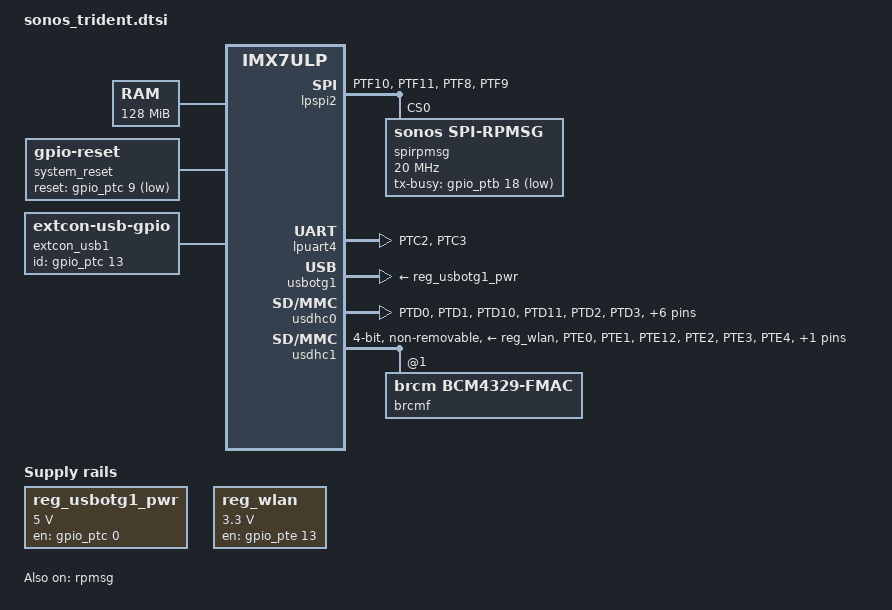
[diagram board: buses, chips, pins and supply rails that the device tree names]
/*
 * Copyright (c) 2019-2020, Sonos, Inc.
 *
 * SPDX-License-Identifier:     GPL-2.0
 */
#include "sonos_imx7ulp.dtsi"
#include <dt-bindings/input/input.h>

/ {
	compatible = "fsl,imx7ulp-evk", "fsl,imx7ulp", "Generic DT based system";

	sonos-platform {
		/* Sonos platform specific values for shared driver source & binaries */
		thermal-mgmt {
			/*
			 * Dummy fault and warn values are configured for now.
			 * Temperature from RPMsg is reported as AMP to mesh
			 * with Sonos Sensor Driver.
			 */
			CPU {
				compatible = "imx7ulp_cpu";
				fault-temperature = <150>;
				warn-temperature = <100>;
			};
			AMP {
				compatible = "rpmsg_temp";
				fault-temperature = <150>;
				warn-temperature = <100>;
			};
		};
	};

	aliases {
		i2c0 = &lpi2c5;
		i2c1 = &rpmsg_i2c0;
		i2c2 = &rpmsg_i2c1;
		gpio4 = &rpmsg_gpio0;
		gpio5 = &rpmsg_gpio1;
		gpio6 = &gpio_ptb;
	};

	chosen {
		stdout-path = &lpuart4;
	};

	memory {
		device_type = "memory";
		reg = <0x60000000 0x08000000>;
	};

	system_reset: system-reset {
		compatible = "gpio-reset";
		reset-gpios = <&gpio_ptc 9 GPIO_ACTIVE_LOW>;
		reset-delay-us = <1000>;
		#reset-cells = <0>;
	};

	regulators {
		compatible = "simple-bus";
		#address-cells = <1>;
		#size-cells = <0>;

		reg_usbotg1_pwr: regulator@0 {
			compatible = "regulator-fixed";
			reg = <0>;
			pinctrl-names = "default", "sleep";
			pinctrl-0 = <&pinctrl_usbotg1_pwr>;
			pinctrl-1 = <&pinctrl_usbotg1_pwr>;
			regulator-name = "usb_otg1_vbus";
			regulator-min-microvolt = <5000000>;
			regulator-max-microvolt = <5000000>;
			gpio = <&gpio_ptc 0 GPIO_ACTIVE_HIGH>;
			enable-active-high;
		};

		reg_wlan: regulator@1 {
			compatible = "regulator-fixed";
			reg = <1>;
			regulator-name = "wlan";
			regulator-min-microvolt = <3300000>;
			regulator-max-microvolt = <3300000>;
			gpio = <&gpio_pte 13 GPIO_ACTIVE_HIGH>;
			enable-active-high;
		};
	};

	extcon_usb1: extcon_usb1 {
		compatible = "linux,extcon-usb-gpio";
		id-gpio = <&gpio_ptc 13 GPIO_ACTIVE_HIGH>;
		pinctrl-names = "default", "sleep";
		pinctrl-0 = <&pinctrl_usbotg1_id>;
		pinctrl-1 = <&pinctrl_usbotg1_id>;
	};

	pf1550-rpmsg {
		compatible = "fsl,pf1550-rpmsg";
		sw1_reg: SW1 {
				regulator-name = "SW1";
				regulator-min-microvolt = <600000>;
				regulator-max-microvolt = <1387500>;
				regulator-boot-on;
				regulator-always-on;
		};

		sw2_reg: SW2 {
				regulator-name = "SW2";
				regulator-min-microvolt = <600000>;
				regulator-max-microvolt = <1387500>;
				regulator-boot-on;
				regulator-always-on;
		};

		sw3_reg: SW3 {
				regulator-name = "SW3";
				regulator-min-microvolt = <1800000>;
				regulator-max-microvolt = <3300000>;
				regulator-boot-on;
				regulator-always-on;
		};

		vref_reg: VREFDDR {
				regulator-name = "VREFDDR";
				regulator-min-microvolt = <1200000>;
				regulator-max-microvolt = <1200000>;
				regulator-boot-on;
				regulator-always-on;
		};

		vldo1_reg: LDO1 {
				regulator-name = "LDO1";
				regulator-min-microvolt = <750000>;
				regulator-max-microvolt = <3300000>;
				regulator-always-on;
		};

		vldo2_reg: LDO2 {
				regulator-name = "LDO2";
				regulator-min-microvolt = <1800000>;
				regulator-max-microvolt = <3300000>;
				regulator-always-on;
		};

		vldo3_reg: LDO3 {
				regulator-name = "LDO3";
				regulator-min-microvolt = <750000>;
				regulator-max-microvolt = <3300000>;
				regulator-always-on;
		};
	};

	rpmsg_i2c0: rpmsg-i2c0 {
		compatible = "sonos,imx7ulp-rpmsg-i2c";
		status = "okay";
	};

	rpmsg_i2c1: rpmsg-i2c1 {
		compatible = "sonos,imx7ulp-rpmsg-i2c";
		status = "okay";
	};

	rpmsg_i2s: rpmsg-i2s {
		compatible = "fsl,imx7ulp-rpmsg-i2s";
		/* the audio device index in m4 domain */
		fsl,audioindex = <0> ;
		status = "disabled";
	};

	rpmsg_gpio0: rpmsg-gpio0 {
		compatible = "fsl,imx-rpmsg-gpio";
		port_idx = <0>;
		gpio-controller;
		#gpio-cells = <2>;
		#interrupt-cells = <2>;
		interrupt-controller;
		interrupt-parent = <&rpmsg_gpio0>;
		status = "disabled";
	};

	rpmsg_gpio1: rpmsg-gpio1 {
		compatible = "fsl,imx-rpmsg-gpio";
		port_idx = <1>;
		gpio-controller;
		#gpio-cells = <2>;
		#interrupt-cells = <2>;
		interrupt-controller;
		interrupt-parent = <&rpmsg_gpio1>;
		status = "okay";
	};

	/* rpmsg_keys: rpmsg-keys {
		compatible = "fsl,rpmsg-keys";

		volume-up {
			label = "Volume Up";
			linux,code = <KEY_VOLUMEUP>;
		};

		volume-down {
			label = "Volume Down";
			linux,code = <KEY_VOLUMEDOWN>;
		};

		power-on {
			label = "PowerOn";
			linux,code = <KEY_POWER>;
			rpmsg-key,wakeup;
		};
	}; */

	/* rpmsg_sensor: rpmsg-sensor {
		compatible = "fsl,rpmsg-input";
	}; */

	/* sound-rpmsg {
		compatible = "fsl,imx-audio-rpmsg";
		model = "rpmsg-audio";
		cpu-dai = <&rpmsg_i2s>;
	}; */

	sonos-bt {
		compatible = "sonos,bt-rpmsg";
		status = "okay";
	};

	sonos-psy {
		compatible = "sonos,psy";
		status = "okay";
	};

	sonos-sndcrd {
		compatible = "sonos,sndcrdctl";
		status = "okay";
	};
};

&cpu0 {
	arm-supply= <&sw1_reg>;
};

&iomuxc1 {
    pinctrl-names = "default_iomuxc1";
    pinctrl-0 = <&pinctrl_hog1>;


    imx7ulp-custom-board {
        pinctrl_hog1: hog1grp {                            /*!< Function assigned for the core: Cortex-A7[ca7] */
/*
 * TEXT BELOW IS USED AS SETTING FOR TOOLS *************************************
pinctrl_hog1:
- options: {callFromInitBoot: 'false', coreID: ca7}
- pin_list:
  - {pin_num: J19, peripheral: DDR, signal: 'ddr_ca, 0', pin_signal: DDR_CA0}
  - {pin_num: J18, peripheral: DDR, signal: 'ddr_ca, 1', pin_signal: DDR_CA1}
  - {pin_num: J16, peripheral: DDR, signal: 'ddr_ca, 2', pin_signal: DDR_CA2}
  - {pin_num: H17, peripheral: DDR, signal: 'ddr_ca, 3', pin_signal: DDR_CA3}
  - {pin_num: G18, peripheral: DDR, signal: 'ddr_ca, 4', pin_signal: DDR_CA4}
  - {pin_num: L17, peripheral: DDR, signal: 'ddr_ca, 5', pin_signal: DDR_CA5}
  - {pin_num: L18, peripheral: DDR, signal: 'ddr_ca, 6', pin_signal: DDR_CA6}
  - {pin_num: M17, peripheral: DDR, signal: 'ddr_ca, 7', pin_signal: DDR_CA7}
  - {pin_num: L16, peripheral: DDR, signal: 'ddr_ca, 8', pin_signal: DDR_CA8}
  - {pin_num: N16, peripheral: DDR, signal: 'ddr_ca, 9', pin_signal: DDR_CA9}
  - {pin_num: K16, peripheral: DDR, signal: 'ddr_cke, 0', pin_signal: DDR_CKE0}
  - {pin_num: K19, peripheral: DDR, signal: 'ddr_clk, 0', pin_signal: DDR_CLK0}
  - {pin_num: L19, peripheral: DDR, signal: 'ddr_clk_b, 0', pin_signal: DDR_CLK0_b}
  - {pin_num: K18, peripheral: DDR, signal: 'ddr_cs_b, 0', pin_signal: DDR_CS0_B}
  - {pin_num: D17, peripheral: DDR, signal: 'ddr_dq, 0', pin_signal: DDR_DQ0}
  - {pin_num: D16, peripheral: DDR, signal: 'ddr_dq, 1', pin_signal: DDR_DQ1}
  - {pin_num: G16, peripheral: DDR, signal: 'ddr_dq, 2', pin_signal: DDR_DQ2}
  - {pin_num: F19, peripheral: DDR, signal: 'ddr_dq, 3', pin_signal: DDR_DQ3}
  - {pin_num: F18, peripheral: DDR, signal: 'ddr_dq, 4', pin_signal: DDR_DQ4}
  - {pin_num: E17, peripheral: DDR, signal: 'ddr_dq, 5', pin_signal: DDR_DQ5}
  - {pin_num: G17, peripheral: DDR, signal: 'ddr_dq, 6', pin_signal: DDR_DQ6}
  - {pin_num: E16, peripheral: DDR, signal: 'ddr_dq, 7', pin_signal: DDR_DQ7}
  - {pin_num: N18, peripheral: DDR, signal: 'ddr_dq, 8', pin_signal: DDR_DQ8}
  - {pin_num: M16, peripheral: DDR, signal: 'ddr_dq, 9', pin_signal: DDR_DQ9}
  - {pin_num: R17, peripheral: DDR, signal: 'ddr_dq, 10', pin_signal: DDR_DQ10}
  - {pin_num: P18, peripheral: DDR, signal: 'ddr_dq, 11', pin_signal: DDR_DQ11}
  - {pin_num: P19, peripheral: DDR, signal: 'ddr_dq, 12', pin_signal: DDR_DQ12}
  - {pin_num: T16, peripheral: DDR, signal: 'ddr_dq, 13', pin_signal: DDR_DQ13}
  - {pin_num: T17, peripheral: DDR, signal: 'ddr_dq, 14', pin_signal: DDR_DQ14}
  - {pin_num: R18, peripheral: DDR, signal: 'ddr_dq, 15', pin_signal: DDR_DQ15}
  - {pin_num: B17, peripheral: DDR, signal: 'ddr_dq, 16', pin_signal: DDR_DQ16}
  - {pin_num: C16, peripheral: DDR, signal: 'ddr_dq, 17', pin_signal: DDR_DQ17}
  - {pin_num: C17, peripheral: DDR, signal: 'ddr_dq, 18', pin_signal: DDR_DQ18}
  - {pin_num: A18, peripheral: DDR, signal: 'ddr_dq, 19', pin_signal: DDR_DQ19}
  - {pin_num: C18, peripheral: DDR, signal: 'ddr_dq, 20', pin_signal: DDR_DQ20}
  - {pin_num: F17, peripheral: DDR, signal: 'ddr_dq, 21', pin_signal: DDR_DQ21}
  - {pin_num: B19, peripheral: DDR, signal: 'ddr_dq, 22', pin_signal: DDR_DQ22}
  - {pin_num: D18, peripheral: DDR, signal: 'ddr_dq, 23', pin_signal: DDR_DQ23}
  - {pin_num: V19, peripheral: DDR, signal: 'ddr_dq, 24', pin_signal: DDR_DQ24}
  - {pin_num: P16, peripheral: DDR, signal: 'ddr_dq, 25', pin_signal: DDR_DQ25}
  - {pin_num: U18, peripheral: DDR, signal: 'ddr_dq, 26', pin_signal: DDR_DQ26}
  - {pin_num: W18, peripheral: DDR, signal: 'ddr_dq, 27', pin_signal: DDR_DQ27}
  - {pin_num: W17, peripheral: DDR, signal: 'ddr_dq, 28', pin_signal: DDR_DQ28}
  - {pin_num: R16, peripheral: DDR, signal: 'ddr_dq, 29', pin_signal: DDR_DQ29}
  - {pin_num: U17, peripheral: DDR, signal: 'ddr_dq, 30', pin_signal: DDR_DQ30}
  - {pin_num: R15, peripheral: DDR, signal: 'ddr_dq, 31', pin_signal: DDR_DQ31}
  - {pin_num: H18, peripheral: DDR, signal: 'ddr_dqm, 0', pin_signal: DDR_DQM0}
  - {pin_num: M18, peripheral: DDR, signal: 'ddr_dqm, 1', pin_signal: DDR_DQM1}
  - {pin_num: E18, peripheral: DDR, signal: 'ddr_dqm, 2', pin_signal: DDR_DQM2}
  - {pin_num: T18, peripheral: DDR, signal: 'ddr_dqm, 3', pin_signal: DDR_DQM3}
  - {pin_num: G19, peripheral: DDR, signal: 'ddr_dqs, 0', pin_signal: DDR_DQS0}
  - {pin_num: N19, peripheral: DDR, signal: 'ddr_dqs, 1', pin_signal: DDR_DQS1}
  - {pin_num: C19, peripheral: DDR, signal: 'ddr_dqs, 2', pin_signal: DDR_DQS2}
  - {pin_num: U19, peripheral: DDR, signal: 'ddr_dqs, 3', pin_signal: DDR_DQS3}
  - {pin_num: H19, peripheral: DDR, signal: 'ddr_dqs_b, 0', pin_signal: DDR_DQS0_b}
  - {pin_num: M19, peripheral: DDR, signal: 'ddr_dqs_b, 1', pin_signal: DDR_DQS1_b}
  - {pin_num: D19, peripheral: DDR, signal: 'ddr_dqs_b, 2', pin_signal: DDR_DQS2_b}
  - {pin_num: T19, peripheral: DDR, signal: 'ddr_dqs_b, 3', pin_signal: DDR_DQS3_b}
  - {pin_num: N17, peripheral: DDR, signal: ddr_odt, pin_signal: DDR_ODT}
  - {pin_num: V17, peripheral: DDR, signal: 'ddr_zq, 0', pin_signal: DDR_ZQ0}
  - {pin_num: B12, peripheral: PTC, signal: 'port, 9', pin_signal: PTC9}
 * BE CAREFUL MODIFYING THIS COMMENT - IT IS YAML SETTINGS FOR TOOLS ***********
 */
            fsl,pins = <
                IMX7ULP_PAD_PTC9__PTC9                     0x00000100
            >;
        };
        pinctrl_sci_swd: sci_swdgrp {                      /*!< Function assigned for the core: Cortex-A7[ca7] */
/*
 * TEXT BELOW IS USED AS SETTING FOR TOOLS *************************************
pinctrl_sci_swd:
- options: {callFromInitBoot: 'true', coreID: ca7}
- pin_list:
  - {pin_num: C12, peripheral: PTC, signal: 'port, 5', pin_signal: PTC5}
  - {pin_num: B13, peripheral: PTC, signal: 'port, 6', pin_signal: PTC6}
 * BE CAREFUL MODIFYING THIS COMMENT - IT IS YAML SETTINGS FOR TOOLS ***********
 */
            fsl,pins = <
                IMX7ULP_PAD_PTC5__PTC5                     0x00000100
                IMX7ULP_PAD_PTC6__PTC6                     0x00000100
            >;
        };
        pinctrl_lpuart4: lpuart4grp {                      /*!< Function assigned for the core: Cortex-A7[ca7] */
/*
 * TEXT BELOW IS USED AS SETTING FOR TOOLS *************************************
pinctrl_lpuart4:
- options: {callFromInitBoot: 'true', coreID: ca7}
- pin_list:
  - {pin_num: D12, peripheral: LPUART4, signal: lpuart_tx, pin_signal: PTC2}
  - {pin_num: F12, peripheral: LPUART4, signal: lpuart_rx, pin_signal: PTC3}
 * BE CAREFUL MODIFYING THIS COMMENT - IT IS YAML SETTINGS FOR TOOLS ***********
 */
            fsl,pins = <
                IMX7ULP_PAD_PTC2__LPUART4_TX               0x00000400
                IMX7ULP_PAD_PTC3__LPUART4_RX               0x00000400
            >;
        };
        pinctrl_lpspi2: lpspi2grp {                        /*!< Function assigned for the core: Cortex-A7[ca7] */
/*
 * TEXT BELOW IS USED AS SETTING FOR TOOLS *************************************
pinctrl_lpspi2:
- options: {callFromInitBoot: 'true', coreID: ca7}
- pin_list:
  - {pin_num: E5, peripheral: LPSPI2, signal: 'lpspi_pcs, 0', pin_signal: PTF11, DSE: DSE_0_Standard}
  - {pin_num: D3, peripheral: LPSPI2, signal: lpspi_sck, pin_signal: PTF10, DSE: DSE_0_Standard}
  - {pin_num: F3, peripheral: LPSPI2, signal: lpspi_sin, pin_signal: PTF8}
  - {pin_num: C1, peripheral: LPSPI2, signal: lpspi_sout, pin_signal: PTF9, DSE: DSE_0_Standard}
 * BE CAREFUL MODIFYING THIS COMMENT - IT IS YAML SETTINGS FOR TOOLS ***********
 */
            fsl,pins = <
                IMX7ULP_PAD_PTF10__LPSPI2_SCK              0x00000300
                IMX7ULP_PAD_PTF11__LPSPI2_PCS0             0x00000300
                IMX7ULP_PAD_PTF8__LPSPI2_SIN               0x00000300
                IMX7ULP_PAD_PTF9__LPSPI2_SOUT              0x00000300
            >;
        };
        pinctrl_emmc: emmcgrp {                            /*!< Function assigned for the core: Cortex-A7[ca7] */
/*
 * TEXT BELOW IS USED AS SETTING FOR TOOLS *************************************
pinctrl_emmc:
- options: {callFromInitBoot: 'true', coreID: ca7}
- pin_list:
  - {pin_num: B15, peripheral: SDHC0, signal: sdhc_clk, pin_signal: PTD2, IBE: IBE_1_Enabled, DSE: DSE_1_Hi_Drive, SRE: SRE_0_Standard, PE: PE_1_pull_enabled}
  - {pin_num: A16, peripheral: SDHC0, signal: sdhc_cmd, pin_signal: PTD1, DSE: DSE_1_Hi_Drive}
  - {pin_num: D13, peripheral: SDHC0, signal: 'sdhc_d, 0', pin_signal: PTD10, DSE: DSE_1_Hi_Drive, PE: PE_1_pull_enabled, PS: PS_1_pull_up}
  - {pin_num: D14, peripheral: SDHC0, signal: 'sdhc_d, 1', pin_signal: PTD9, DSE: DSE_1_Hi_Drive, PE: PE_1_pull_enabled, PS: PS_1_pull_up}
  - {pin_num: F14, peripheral: SDHC0, signal: 'sdhc_d, 2', pin_signal: PTD8, DSE: DSE_1_Hi_Drive, PE: PE_1_pull_enabled, PS: PS_1_pull_up}
  - {pin_num: C14, peripheral: SDHC0, signal: 'sdhc_d, 3', pin_signal: PTD7, DSE: DSE_1_Hi_Drive, PE: PE_1_pull_enabled, PS: PS_1_pull_up}
  - {pin_num: E13, peripheral: SDHC0, signal: 'sdhc_d, 4', pin_signal: PTD6, DSE: DSE_1_Hi_Drive, PE: PE_1_pull_enabled, PS: PS_1_pull_up}
  - {pin_num: A14, peripheral: SDHC0, signal: 'sdhc_d, 5', pin_signal: PTD5, DSE: DSE_1_Hi_Drive, PE: PE_1_pull_enabled, PS: PS_1_pull_up}
  - {pin_num: B14, peripheral: SDHC0, signal: 'sdhc_d, 6', pin_signal: PTD4, DSE: DSE_1_Hi_Drive, PE: PE_1_pull_enabled, PS: PS_1_pull_up}
  - {pin_num: E14, peripheral: SDHC0, signal: 'sdhc_d, 7', pin_signal: PTD3, DSE: DSE_1_Hi_Drive, PE: PE_1_pull_enabled, PS: PS_1_pull_up}
  - {pin_num: F13, peripheral: SDHC0, signal: sdhc_dqs, pin_signal: PTD11, DSE: DSE_1_Hi_Drive}
  - {pin_num: A15, peripheral: SDHC0, signal: sdhc_reset_b, pin_signal: PTD0, OBE: OBE_1_Enabled}
 * BE CAREFUL MODIFYING THIS COMMENT - IT IS YAML SETTINGS FOR TOOLS ***********
 */
            fsl,pins = <
                IMX7ULP_PAD_PTD0__SDHC0_RESET_B            0x00020800
                IMX7ULP_PAD_PTD1__SDHC0_CMD                0x00000840
                IMX7ULP_PAD_PTD10__SDHC0_D0                0x00000843
                IMX7ULP_PAD_PTD11__SDHC0_DQS               0x00000840
                IMX7ULP_PAD_PTD2__SDHC0_CLK                0x00010842
                IMX7ULP_PAD_PTD3__SDHC0_D7                 0x00000843
                IMX7ULP_PAD_PTD4__SDHC0_D6                 0x00000843
                IMX7ULP_PAD_PTD5__SDHC0_D5                 0x00000843
                IMX7ULP_PAD_PTD6__SDHC0_D4                 0x00000843
                IMX7ULP_PAD_PTD7__SDHC0_D3                 0x00000843
                IMX7ULP_PAD_PTD8__SDHC0_D2                 0x00000843
                IMX7ULP_PAD_PTD9__SDHC0_D1                 0x00000843
            >;
        };
        pinctrl_sdio_wlan: sdio_wlangrp {                  /*!< Function assigned for the core: Cortex-A7[ca7] */
/*
 * TEXT BELOW IS USED AS SETTING FOR TOOLS *************************************
pinctrl_sdio_wlan:
- options: {callFromInitBoot: 'true', coreID: ca7}
- pin_list:
  - {pin_num: F9, peripheral: SDHC1, signal: sdhc_clk, pin_signal: PTE2, IBE: IBE_1_Enabled, DSE: DSE_1_Hi_Drive, PE: PE_1_pull_enabled}
  - {pin_num: A7, peripheral: SDHC1, signal: sdhc_cmd, pin_signal: PTE3, DSE: DSE_1_Hi_Drive, PE: PE_1_pull_enabled, PS: PS_1_pull_up}
  - {pin_num: A8, peripheral: SDHC1, signal: 'sdhc_d, 0', pin_signal: PTE1, DSE: DSE_1_Hi_Drive, PE: PE_1_pull_enabled, PS: PS_1_pull_up}
  - {pin_num: C9, peripheral: SDHC1, signal: 'sdhc_d, 1', pin_signal: PTE0, DSE: DSE_1_Hi_Drive, PE: PE_1_pull_enabled, PS: PS_1_pull_up}
  - {pin_num: A6, peripheral: SDHC1, signal: 'sdhc_d, 2', pin_signal: PTE5, DSE: DSE_1_Hi_Drive, PE: PE_1_pull_enabled, PS: PS_1_pull_up}
  - {pin_num: E9, peripheral: SDHC1, signal: 'sdhc_d, 3', pin_signal: PTE4, DSE: DSE_1_Hi_Drive, PE: PE_1_pull_enabled, PS: PS_1_pull_up}
  - {pin_num: B8, peripheral: PTE, signal: 'port, 12', pin_signal: PTE12, OBE: OBE_1_Enabled}
 * BE CAREFUL MODIFYING THIS COMMENT - IT IS YAML SETTINGS FOR TOOLS ***********
 */
            fsl,pins = <
                IMX7ULP_PAD_PTE0__SDHC1_D1                 0x00000843
                IMX7ULP_PAD_PTE1__SDHC1_D0                 0x00000843
                IMX7ULP_PAD_PTE12__PTE12                   0x00020100
                IMX7ULP_PAD_PTE2__SDHC1_CLK                0x00010842
                IMX7ULP_PAD_PTE3__SDHC1_CMD                0x00000843
                IMX7ULP_PAD_PTE4__SDHC1_D3                 0x00000843
                IMX7ULP_PAD_PTE5__SDHC1_D2                 0x00000843
            >;
        };
        pinctrl_wlan_reg: wlan_reggrp {                    /*!< Function assigned for the core: Cortex-A7[ca7] */
/*
 * TEXT BELOW IS USED AS SETTING FOR TOOLS *************************************
pinctrl_wlan_reg:
- options: {callFromInitBoot: 'true', coreID: ca7}
- pin_list:
  - {pin_num: E8, peripheral: PTE, signal: 'port, 13', pin_signal: PTE13, OBE: OBE_1_Enabled}
 * BE CAREFUL MODIFYING THIS COMMENT - IT IS YAML SETTINGS FOR TOOLS ***********
 */
            fsl,pins = <
                IMX7ULP_PAD_PTE13__PTE13                   0x00020100
            >;
        };
        pinctrl_usbotg1_id: usbotg1_idgrp {                /*!< Function assigned for the core: Cortex-A7[ca7] */
/*
 * TEXT BELOW IS USED AS SETTING FOR TOOLS *************************************
pinctrl_usbotg1_id:
- options: {callFromInitBoot: 'true', coreID: ca7}
- pin_list:
  - {pin_num: B10, peripheral: PTC, signal: 'port, 12', pin_signal: PTC12, IBE: IBE_1_Enabled, PE: PE_1_pull_enabled, PS: PS_1_pull_up}
 * BE CAREFUL MODIFYING THIS COMMENT - IT IS YAML SETTINGS FOR TOOLS ***********
 */
            fsl,pins = <
                IMX7ULP_PAD_PTC13__PTC13                   0x00010103
            >;
        };
        pinctrl_usbotg1_pwr: usbotg1_pwrgrp {              /*!< Function assigned for the core: Cortex-A7[ca7] */
/*
 * TEXT BELOW IS USED AS SETTING FOR TOOLS *************************************
pinctrl_usbotg1_pwr:
- options: {callFromInitBoot: 'true', coreID: ca7}
- pin_list:
  - {pin_num: E12, peripheral: PTC, signal: 'port, 0', pin_signal: PTC0, OBE: OBE_1_Enabled}
 * BE CAREFUL MODIFYING THIS COMMENT - IT IS YAML SETTINGS FOR TOOLS ***********
 */
            fsl,pins = <
                IMX7ULP_PAD_PTC0__PTC0                     0x00020100
            >;
        };
        pinctrl_usbotg1_oc: usbotg1_ocgrp {                /*!< Function assigned for the core: Cortex-A7[ca7] */
/*
 * TEXT BELOW IS USED AS SETTING FOR TOOLS *************************************
pinctrl_usbotg1_oc:
- options: {callFromInitBoot: 'true', coreID: ca7}
- pin_list:
  - {pin_num: D9, peripheral: PTC, signal: 'port, 16', pin_signal: PTC16}
 * BE CAREFUL MODIFYING THIS COMMENT - IT IS YAML SETTINGS FOR TOOLS ***********
 */
            fsl,pins = <
                IMX7ULP_PAD_PTC16__PTC16                   0x00000100
            >;
        };
        pinctrl_usbotg1: usbotg1grp {                      /*!< Function assigned for the core: Cortex-A7[ca7] */
/*
 * TEXT BELOW IS USED AS SETTING FOR TOOLS *************************************
pinctrl_usbotg1:
- options: {callFromInitBoot: 'true', coreID: ca7}
- pin_list:
  - {pin_num: L1, peripheral: USB0, signal: usb0_dm, pin_signal: USB0_DM}
  - {pin_num: K1, peripheral: USB0, signal: usb0_dp, pin_signal: USB0_DP}
  - {pin_num: K4, peripheral: USB0, signal: usb0_vbus_detect, pin_signal: USB0_VBUS_DETECT}
 * BE CAREFUL MODIFYING THIS COMMENT - IT IS YAML SETTINGS FOR TOOLS ***********
 */
            fsl,pins = <
            >;
        };
    };
};

&iomuxc {
	status = "okay";
};

&iomuxc {
	imx7ulp-trident {
		pinctrl_main_swd: psoc_main_swdgrp {
			fsl,pins = <
				IMX7ULP_PAD_PTB8__PTB8                     0x00000100
				IMX7ULP_PAD_PTB9__PTB9                     0x00000100
				IMX7ULP_PAD_PTB10__PTB10                   0x00000100
			>;
		};
		pinctrl_bat_swd: psoc_bat_swdgrp {
			fsl,pins = <
				IMX7ULP_PAD_PTB1__PTB1                     0x00000104
				IMX7ULP_PAD_PTB2__PTB2                     0x00000104
				IMX7ULP_PAD_PTB3__PTB3                     0x00000104
			>;
		};

		pinctrl_spi_ctrl: spi_ctrl_reggrp {
			fsl,pins = <
				IMX7ULP_PAD_PTB18__PTB18                   0x00010100
				IMX7ULP_PAD_PTB19__PTB19                   0x00010100
			>;
		};
	};
};

&lpspi2 {
	#address-cells = <1>;
	#size-cells = <0>;
	pinctrl-names = "default", "sleep";
	pinctrl-0 = <&pinctrl_lpspi2>;
	pinctrl-1 = <&pinctrl_lpspi2>;
	status = "okay";

	spirpmsg: spi-rpmsg@0 {
		reg = <0>;
		compatible = "sonos,spi-rpmsg";
		pinctrl-names = "default";
		pinctrl-0 = <&pinctrl_spi_ctrl>;
		spi-max-frequency = <20000000>;
		buffer-max-size = <512>;
		spi-cpha;
		spi-cpol;
		tx-busy-gpio = <&gpio_ptb 18 GPIO_ACTIVE_LOW>;
		interrupts = <&gpio_ptb 19 GPIO_ACTIVE_LOW>;
	};
};

&lpuart4 { /* console */
	pinctrl-names = "default", "sleep";
	pinctrl-0 = <&pinctrl_lpuart4>;
	pinctrl-1 = <&pinctrl_lpuart4>;
	status = "okay";
};

&rpmsg{
	/*
	 * 64K for one rpmsg instance
	 */
	vdev-nums = <1>;
	reg = <0x67F00000 0x10000>;
	status = "okay";
};

&usbotg1 {
	vbus-supply = <&reg_usbotg1_pwr>;
	extcon = <0>, <&extcon_usb1>;
	srp-disable;
	hnp-disable;
	adp-disable;
	status = "okay";
};

&usbphy1 {
	tx-d-cal = <0xc>;
};

&usdhc0 {
	pinctrl-names = "default", "state_100mhz", "state_200mhz", "sleep";
	pinctrl-0 = <&pinctrl_emmc>;
	pinctrl-1 = <&pinctrl_emmc>;
	pinctrl-2 = <&pinctrl_emmc>;
	pinctrl-3 = <&pinctrl_emmc>;
	/* cd-gpios = <&gpio_ptc 10 GPIO_ACTIVE_LOW>; */
	/* vmmc-supply = <&reg_vsd_3v3>; */
	/* vqmmc-supply = <&vldo2_reg>; */
	status = "okay";
};

&usdhc1 {
	pinctrl-names = "default", "sleep";
	pinctrl-0 = <&pinctrl_sdio_wlan>;
	pinctrl-1 = <&pinctrl_sdio_wlan>;
	bus-width = <4>;
	no-1-8-v;
	/* vmmc-supply = <&reg_vmmc>; */
	/* wlan-supply = <&reg_wlan>; */
	vmmc-supply = <&reg_wlan>;
	pm-ignore-notify;
	keep-power-in-suspend;
	non-removable;
	status = "okay";

	brcmf: bcrmf@1 {
		compatible = "brcm,bcm4329-fmac";
	};
};

&rpmsg_i2c0 {
	#address-cells = <1>;
	#size-cells = <0>;

        sge@0 {  // Sigdetail Gesture Engine
		compatible = "Sonos,sge-psoc4";
		pinctrl-names = "mode-swd";
		pinctrl-0 = <&pinctrl_main_swd>;
		reg = <0x40>;
		gpio-addr = <0x4100F040 0x40 0x4 0x8 0x10 0x4 0x8 0x10>;
		gpio-params = "base-addr", "len", "io-set", "io-clr", "io-din", "scl-set", "scl-clr", "scl-din";
		scl-bitmask =  <0x00000100>;
		io-bitmask  =  <0x00000200>;
		xres-gpio = <&gpio_ptb 10 GPIO_ACTIVE_LOW>;
		io-gpio   = <&gpio_ptb  9 GPIO_ACTIVE_LOW>;
		scl-gpio  = <&gpio_ptb  8 GPIO_ACTIVE_LOW>;
		// irq-gpio PSoC interrupt signal goes to the RT600
		psoc-flash-verify-disabled;
		uses-rpmsg;
		captouch-style-button;
		finger-threshold = <37>;
		noise-threshold = <16>;
		hysteresis = <4>;
		prox-finger-threshold = <100>;
		prox-noise-threshold = <40>;
		prox-hysteresis = <4>;
		share-swd-uart = <0>;
		status = "okay";

		psoc-images {
			image@0 {
				model-num = <4025>;
				ident = <0x24>;
				flash-rows = <256>;
				flash-row-size = <128>;
				flash-protection-size = <32>;
			};
		};
	};
};

&rpmsg_i2c1 {
	#address-cells = <1>;
	#size-cells = <0>;

	sge@1 {  // Sigdetail Gesture Engine
		compatible = "Sonos,sge-psoc4";
		pinctrl-names = "mode-swd";
		pinctrl-0 = <&pinctrl_bat_swd>;
		reg = <0x41>;
		gpio-addr = <0x4100F040 0x40 0x4 0x8 0x10 0x4 0x8 0x10>;
		gpio-params = "base-addr", "len", "io-set", "io-clr", "io-din", "scl-set", "scl-clr", "scl-din";
		scl-bitmask =  <0x00000002>;
		io-bitmask  =  <0x00000004>;
		xres-gpio = <&gpio_ptb  3 GPIO_ACTIVE_LOW>;
		io-gpio   = <&gpio_ptb  2 GPIO_ACTIVE_LOW>;
		scl-gpio  = <&gpio_ptb  1 GPIO_ACTIVE_LOW>;
		// irq-gpio PSoC interrupt signal goes to the RT600
		psoc-skip-init-reset;
		psoc-flash-verify-disabled;
		uses-rpmsg;
		program-requires-usbc-power;
		shared-i2c-swd-pins;
		captouch-style-touchpad;
		finger-threshold = <33>;
		noise-threshold = <9>;
		hysteresis = <4>;
		prox-finger-threshold = <100>;
		prox-noise-threshold = <40>;
		prox-hysteresis = <4>;
		share-swd-uart = <0>;
		status = "okay";

		psoc-images {
			image@0 {
				model-num = <4025>;
				ident = <0x27>;
				flash-rows = <256>;
				flash-row-size = <128>;
				flash-protection-size = <32>;
			};
		};
	};
};
